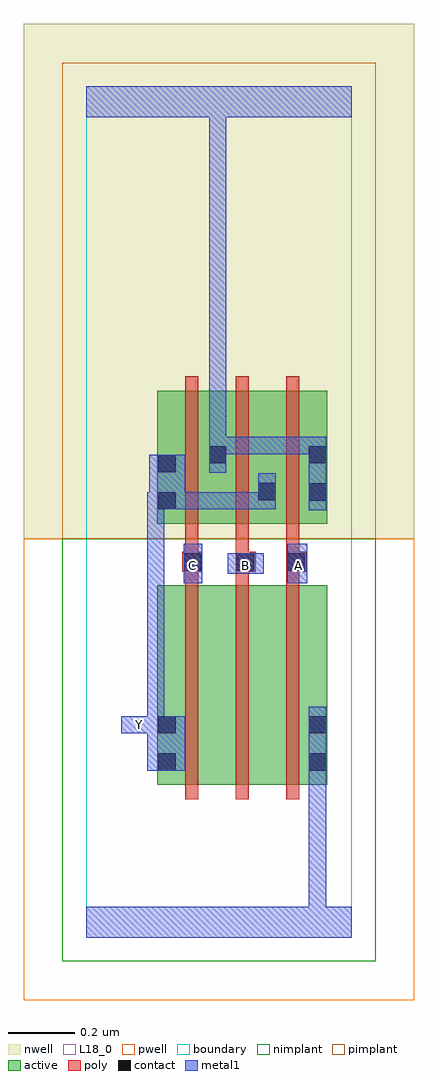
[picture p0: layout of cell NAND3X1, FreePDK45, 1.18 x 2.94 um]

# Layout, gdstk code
import gdstk
lib = gdstk.Library(unit=1e-6, precision=1e-09)
def R(c, l, rs):  # rectangles x0, y0, x1, y1
    for r in rs: c.add(gdstk.rectangle(r[:2], r[2:], *l))
def A(c, l, x, y, w, h, nx, ny, dx, dy):  # array of equal rectangles
    R(c, l, [(x+i*dx, y+j*dy, x+i*dx+w, y+j*dy+h) for i in range(nx) for j in range(ny)])
active = (1, 0)
pwell = (2, 0)
nwell = (3, 0)
nimplant = (4, 0)
pimplant = (5, 0)
poly = (9, 0)
contact = (10, 0)
metal1 = (11, 0)
L18_0 = (18, 0)
boundary = (235, 0)

nand3x1 = lib.new_cell('NAND3X1')
R(nand3x1, active, [(0.214,0.46,0.274,1.06), (0.214,0.46,0.394,1.06), (0.394,0.46,0.546,1.06), (0.546,0.46,0.726,1.06), (0.666,0.46,0.726,1.06), (0.214,1.244,0.274,1.644), (0.214,1.244,0.426,1.644), (0.366,1.244,0.574,1.644), (0.514,1.244,0.726,1.644), (0.666,1.244,0.726,1.644), (0.514,1.312,0.574,1.644), (0.366,1.422,0.426,1.644)])
R(nand3x1, pwell, [(-0.188,-0.188,0.988,1.2)])
R(nand3x1, nwell, [(-0.188,1.2,0.988,2.748)])
R(nand3x1, nimplant, [(-0.072,-0.072,0.872,1.2)])
R(nand3x1, pimplant, [(-0.072,1.2,0.872,2.632)])
A(nand3x1, poly, 0.298, 0.416, 0.04, 0.688, 3, 1, 0.152, 0)
A(nand3x1, poly, 0.298, 1.064, 0.04, 0.076, 3, 1, 0.152, 0)
A(nand3x1, poly, 0.298, 1.12, 0.04, 0.12, 3, 1, 0.152, 0)
A(nand3x1, poly, 0.298, 1.2, 0.04, 0.488, 3, 1, 0.152, 0)
R(nand3x1, poly, [(0.29,1.1,0.35,1.16), (0.45,1.1,0.49,1.14), (0.45,1.1,0.49,1.14), (0.45,1.1,0.51,1.16), (0.602,1.1,0.642,1.14), (0.602,1.1,0.642,1.14), (0.602,1.1,0.662,1.16), (0.298,1.12,0.338,1.16), (0.298,1.12,0.338,1.16)])
R(nand3x1, contact, [(0.218,0.502,0.27,0.554), (0.67,0.502,0.722,0.554), (0.218,0.614,0.27,0.666), (0.67,0.614,0.722,0.666), (0.294,1.104,0.346,1.156), (0.454,1.104,0.506,1.156), (0.606,1.104,0.658,1.156), (0.218,1.288,0.27,1.34), (0.67,1.314,0.722,1.366), (0.518,1.316,0.57,1.368), (0.218,1.4,0.27,1.452), (0.37,1.426,0.422,1.478), (0.67,1.426,0.722,1.478)])
R(nand3x1, metal1, [(0,0,0.8,0.092), (0.67,0.04,0.722,0.092), (0.67,0.04,0.722,0.092), (0.67,0.04,0.722,0.092), (0.67,0.04,0.722,0.092), (0.67,0.04,0.722,0.526), (0.67,0.474,0.722,0.526), (0.67,0.474,0.722,0.526), (0.67,0.474,0.722,0.526), (0.67,0.474,0.722,0.526), (0.67,0.474,0.722,0.694), (0.184,0.502,0.298,0.666), (0.106,0.614,0.236,0.666), (0.184,0.614,0.236,0.666), (0.184,0.614,0.236,1.34), (0.294,1.066,0.35,1.184), (0.606,1.066,0.666,1.184), (0.426,1.094,0.534,1.156), (0.67,1.286,0.722,1.506), (0.184,1.288,0.242,1.34), (0.19,1.288,0.242,1.34), (0.19,1.288,0.298,1.452), (0.246,1.288,0.298,1.34), (0.246,1.288,0.298,1.34), (0.246,1.288,0.46,1.34), (0.408,1.288,0.46,1.34), (0.408,1.288,0.46,1.34), (0.408,1.288,0.46,1.34), (0.408,1.288,0.57,1.34), (0.518,1.288,0.57,1.396), (0.37,1.398,0.422,1.506), (0.37,1.454,0.422,1.506), (0.37,1.454,0.422,1.506), (0.37,1.454,0.422,1.506), (0.37,1.454,0.422,1.506), (0.37,1.454,0.612,1.506), (0.37,1.454,0.422,2.52), (0.56,1.454,0.612,1.506), (0.56,1.454,0.722,1.506), (0.67,1.454,0.722,1.506), (0.67,1.454,0.722,1.506), (0,2.468,0.8,2.56), (0.37,2.468,0.422,2.52), (0.37,2.468,0.422,2.52), (0.37,2.468,0.422,2.52), (0.37,2.468,0.422,2.52), (0.37,2.468,0.422,2.52), (0.37,2.468,0.422,2.52), (0.37,2.468,0.422,2.52), (0.37,2.468,0.422,2.52), (0.37,2.468,0.422,2.52), (0.37,2.468,0.422,2.52), (0.37,2.468,0.422,2.52), (0.37,2.468,0.422,2.52), (0.37,2.468,0.422,2.52), (0.37,2.468,0.422,2.52)])
A(nand3x1, L18_0, 0.294, 1.094, 0.052, 0.052, 3, 1, 0.16, 0)
R(nand3x1, L18_0, [(0,0,0.8,0.092), (0.67,0.04,0.722,0.092), (0.67,0.04,0.722,0.092), (0.67,0.04,0.722,0.092), (0.67,0.04,0.722,0.092), (0.67,0.04,0.722,0.526), (0.67,0.474,0.722,0.526), (0.67,0.474,0.722,0.526), (0.67,0.474,0.722,0.526), (0.67,0.474,0.722,0.526), (0.67,0.474,0.722,0.694), (0.184,0.502,0.298,0.666), (0.106,0.614,0.236,0.666), (0.134,0.614,0.186,0.666), (0.184,0.614,0.236,0.666), (0.184,0.614,0.236,1.34), (0.294,1.066,0.35,1.184), (0.606,1.066,0.666,1.184), (0.426,1.094,0.534,1.156), (0.67,1.286,0.722,1.506), (0.184,1.288,0.242,1.34), (0.19,1.288,0.242,1.34), (0.19,1.288,0.298,1.452), (0.246,1.288,0.298,1.34), (0.246,1.288,0.298,1.34), (0.246,1.288,0.46,1.34), (0.408,1.288,0.46,1.34), (0.408,1.288,0.46,1.34), (0.408,1.288,0.46,1.34), (0.408,1.288,0.57,1.34), (0.518,1.288,0.57,1.396), (0.37,1.398,0.422,1.506), (0.37,1.454,0.422,1.506), (0.37,1.454,0.422,1.506), (0.37,1.454,0.422,1.506), (0.37,1.454,0.422,1.506), (0.37,1.454,0.422,2.52), (0.37,1.454,0.612,1.506), (0.56,1.454,0.612,1.506), (0.56,1.454,0.722,1.506), (0.67,1.454,0.722,1.506), (0.67,1.454,0.722,1.506), (0,2.468,0.8,2.56), (0.37,2.468,0.422,2.52), (0.37,2.468,0.422,2.52), (0.37,2.468,0.422,2.52), (0.37,2.468,0.422,2.52), (0.37,2.468,0.422,2.52), (0.37,2.468,0.422,2.52), (0.37,2.468,0.422,2.52), (0.37,2.468,0.422,2.52), (0.37,2.468,0.422,2.52), (0.37,2.468,0.422,2.52), (0.37,2.468,0.422,2.52), (0.37,2.468,0.422,2.52), (0.37,2.468,0.422,2.52), (0.37,2.468,0.422,2.52)])
R(nand3x1, boundary, [(0,0,0.8,2.56)])
nand3x1.add(gdstk.Label('A', (0.64,1.12), layer=11, texttype=0))
nand3x1.add(gdstk.Label('B', (0.48,1.12), layer=11, texttype=0))
nand3x1.add(gdstk.Label('C', (0.32,1.12), layer=11, texttype=0))
nand3x1.add(gdstk.Label('Y', (0.16,0.64), layer=11, texttype=0))

lib.write_gds('NAND3X1.gds')
